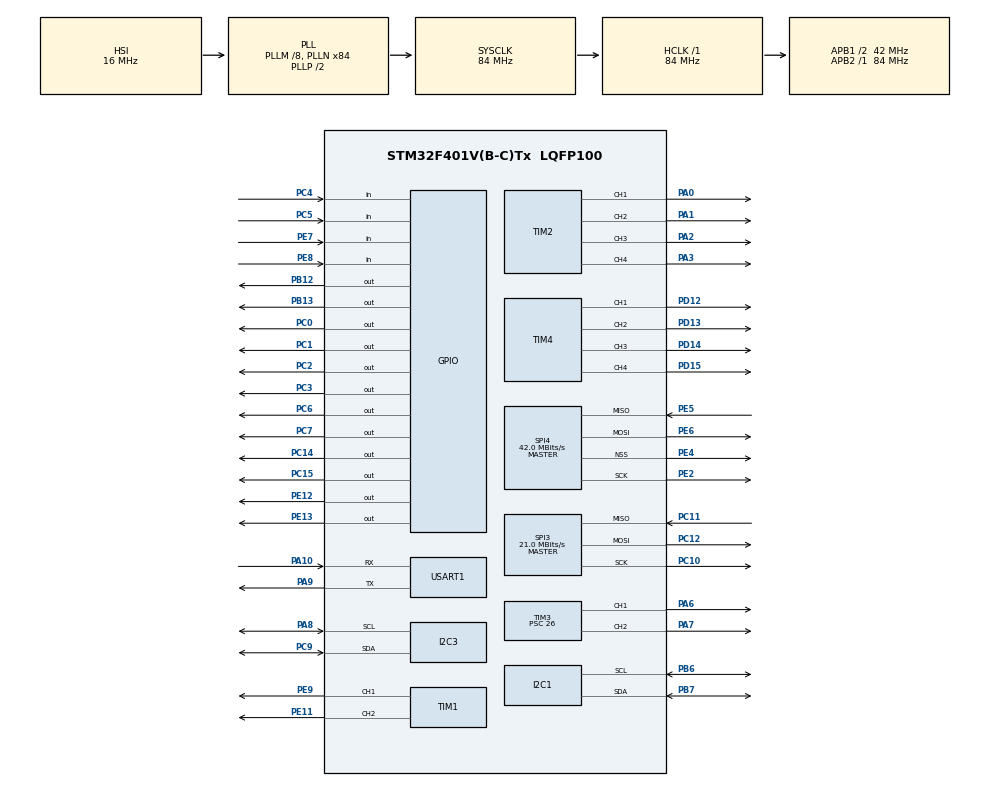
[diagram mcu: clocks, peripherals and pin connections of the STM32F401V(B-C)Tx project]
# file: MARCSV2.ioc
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Mcu.Family=STM32F4
Mcu.Name=STM32F401V(B-C)Tx
Mcu.Package=LQFP100
NVIC.PriorityGroup=NVIC_PRIORITYGROUP_4
PA0-WKUP.Signal=S_TIM2_CH1_ETR
PA1.Signal=S_TIM2_CH2
PA10.Mode=Asynchronous
PA10.Signal=USART1_RX
PA13.Mode=JTAG_4_pins
PA13.Signal=SYS_JTMS-SWDIO
PA14.Mode=JTAG_4_pins
PA14.Signal=SYS_JTCK-SWCLK
PA15.Mode=JTAG_4_pins
PA15.Signal=SYS_JTDI
PA2.Signal=S_TIM2_CH3
PA3.Signal=S_TIM2_CH4
PA6.Signal=S_TIM3_CH1
PA7.Signal=S_TIM3_CH2
PA8.Mode=I2C
PA8.Signal=I2C3_SCL
PA9.Mode=Asynchronous
PA9.Signal=USART1_TX
PB12.Signal=GPIO_Output
PB13.Signal=GPIO_Output
PB3.Mode=JTAG_4_pins
PB3.Signal=SYS_JTDO-SWO
PB6.Mode=I2C
PB6.Signal=I2C1_SCL
PB7.Mode=I2C
PB7.Signal=I2C1_SDA
PC0.Signal=GPIO_Output
PC1.Signal=GPIO_Output
PC10.Mode=Full_Duplex_Master
PC10.Signal=SPI3_SCK
PC11.Mode=Full_Duplex_Master
PC11.Signal=SPI3_MISO
PC12.Mode=Full_Duplex_Master
PC12.Signal=SPI3_MOSI
PC14-OSC32_IN.Signal=GPIO_Output
PC15-OSC32_OUT.Signal=GPIO_Output
PC2.Signal=GPIO_Output
PC3.Signal=GPIO_Output
PC4.Signal=GPIO_Input
PC5.Signal=GPIO_Input
PC6.Signal=GPIO_Output
PC7.Signal=GPIO_Output
PC9.Mode=I2C
PC9.Signal=I2C3_SDA
PD12.Signal=S_TIM4_CH1
PD13.Signal=S_TIM4_CH2
PD14.Signal=S_TIM4_CH3
PD15.Signal=S_TIM4_CH4
PE11.Signal=S_TIM1_CH2
PE12.Signal=GPIO_Output
PE13.Signal=GPIO_Output
PE2.Mode=Full_Duplex_Master
PE2.Signal=SPI4_SCK
PE4.Mode=NSS_Signal_Hard_Output
PE4.Signal=SPI4_NSS
PE5.Mode=Full_Duplex_Master
PE5.Signal=SPI4_MISO
PE6.Mode=Full_Duplex_Master
PE6.Signal=SPI4_MOSI
PE7.Signal=GPIO_Input
PE8.Signal=GPIO_Input
PE9.Signal=S_TIM1_CH1
PH0\ -\ OSC_IN.Mode=HSE-External-Oscillator
PH0\ -\ OSC_IN.Signal=RCC_OSC_IN
PH1\ -\ OSC_OUT.Mode=HSE-External-Oscillator
PH1\ -\ OSC_OUT.Signal=RCC_OSC_OUT
ProjectManager.HeapSize=0x200
ProjectManager.StackSize=0x400
ProjectManager.TargetToolchain=MDK-ARM V5
RCC.48MHZClocksFreq_Value=42000000
RCC.AHBFreq_Value=84000000
RCC.APB1CLKDivider=RCC_HCLK_DIV2
RCC.APB1Freq_Value=42000000
RCC.APB1TimFreq_Value=84000000
RCC.APB2Freq_Value=84000000
RCC.APB2TimFreq_Value=84000000
RCC.CortexFreq_Value=84000000
RCC.HCLKFreq_Value=84000000
RCC.HSE_VALUE=25000000
RCC.HSI_VALUE=16000000
RCC.LSE_VALUE=32768
RCC.PLLM=8
RCC.PLLN=84
RCC.SYSCLKFreq_VALUE=84000000
RCC.SYSCLKSource=RCC_SYSCLKSOURCE_PLLCLK
RCC.VCOOutputFreq_Value=168000000
SH.S_TIM1_CH1.0=TIM1_CH1,PWM Generation1 CH1
SH.S_TIM1_CH2.0=TIM1_CH2,PWM Generation2 CH2
SH.S_TIM2_CH1_ETR.0=TIM2_CH1,PWM Generation1 CH1
SH.S_TIM2_CH2.0=TIM2_CH2,PWM Generation2 CH2
SH.S_TIM2_CH3.0=TIM2_CH3,PWM Generation3 CH3
SH.S_TIM2_CH4.0=TIM2_CH4,PWM Generation4 CH4
SH.S_TIM3_CH1.0=TIM3_CH1,PWM Generation1 CH1
SH.S_TIM3_CH2.0=TIM3_CH2,PWM Generation2 CH2
SH.S_TIM4_CH1.0=TIM4_CH1,PWM Generation1 CH1
SH.S_TIM4_CH2.0=TIM4_CH2,PWM Generation2 CH2
SH.S_TIM4_CH3.0=TIM4_CH3,PWM Generation3 CH3
SH.S_TIM4_CH4.0=TIM4_CH4,PWM Generation4 CH4
SPI3.CalculateBaudRate=21.0 MBits/s
SPI3.Direction=SPI_DIRECTION_2LINES
SPI3.Mode=SPI_MODE_MASTER
SPI3.VirtualType=VM_MASTER
SPI4.CalculateBaudRate=42.0 MBits/s
SPI4.Direction=SPI_DIRECTION_2LINES
SPI4.Mode=SPI_MODE_MASTER
SPI4.VirtualNSS=VM_NSSHARD
SPI4.VirtualType=VM_MASTER
TIM1.Channel-PWM\ Generation1\ CH1=TIM_CHANNEL_1
TIM1.Channel-PWM\ Generation2\ CH2=TIM_CHANNEL_2
TIM2.Channel-PWM\ Generation1\ CH1=TIM_CHANNEL_1
TIM2.Channel-PWM\ Generation2\ CH2=TIM_CHANNEL_2
TIM2.Channel-PWM\ Generation3\ CH3=TIM_CHANNEL_3
TIM2.Channel-PWM\ Generation4\ CH4=TIM_CHANNEL_4
TIM3.Channel-PWM\ Generation1\ CH1=TIM_CHANNEL_1
TIM3.Channel-PWM\ Generation2\ CH2=TIM_CHANNEL_2
TIM3.Prescaler=26
TIM4.Channel-PWM\ Generation1\ CH1=TIM_CHANNEL_1
TIM4.Channel-PWM\ Generation2\ CH2=TIM_CHANNEL_2
TIM4.Channel-PWM\ Generation3\ CH3=TIM_CHANNEL_3
TIM4.Channel-PWM\ Generation4\ CH4=TIM_CHANNEL_4
USART1.VirtualMode=VM_ASYNC
board=custom

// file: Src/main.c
/* USER CODE BEGIN Header */
/**
  ******************************************************************************
  * @file           : main.c
  * @brief          : Main program body
  ******************************************************************************
  ** This notice applies to any and all portions of this file
  * that are not between comment pairs USER CODE BEGIN and
  * USER CODE END. Other portions of this file, whether
  * inserted by the user or by software development tools
  * are owned by their respective copyright owners.
  *
  * COPYRIGHT(c) 2019 STMicroelectronics
  *
  * Redistribution and use in source and binary forms, with or without modification,
  * are permitted provided that the following conditions are met:
  *   1. Redistributions of source code must retain the above copyright notice,
  *      this list of conditions and the following disclaimer.
  *   2. Redistributions in binary form must reproduce the above copyright notice,
  *      this list of conditions and the following disclaimer in the documentation
  *      and/or other materials provided with the distribution.
  *   3. Neither the name of STMicroelectronics nor the names of its contributors
  *      may be used to endorse or promote products derived from this software
  *      without specific prior written permission.
  *
  * THIS SOFTWARE IS PROVIDED BY THE COPYRIGHT HOLDERS AND CONTRIBUTORS "AS IS"
  * AND ANY EXPRESS OR IMPLIED WARRANTIES, INCLUDING, BUT NOT LIMITED TO, THE
  * IMPLIED WARRANTIES OF MERCHANTABILITY AND FITNESS FOR A PARTICULAR PURPOSE ARE
  * DISCLAIMED. IN NO EVENT SHALL THE COPYRIGHT HOLDER OR CONTRIBUTORS BE LIABLE
  * FOR ANY DIRECT, INDIRECT, INCIDENTAL, SPECIAL, EXEMPLARY, OR CONSEQUENTIAL
  * DAMAGES (INCLUDING, BUT NOT LIMITED TO, PROCUREMENT OF SUBSTITUTE GOODS OR
  * SERVICES; LOSS OF USE, DATA, OR PROFITS; OR BUSINESS INTERRUPTION) HOWEVER
  * CAUSED AND ON ANY THEORY OF LIABILITY, WHETHER IN CONTRACT, STRICT LIABILITY,
  * OR TORT (INCLUDING NEGLIGENCE OR OTHERWISE) ARISING IN ANY WAY OUT OF THE USE
  * OF THIS SOFTWARE, EVEN IF ADVISED OF THE POSSIBILITY OF SUCH DAMAGE.
  *
  ******************************************************************************
  */
/* USER CODE END Header */

#include "main.h"

I2C_HandleTypeDef hi2c1;
I2C_HandleTypeDef hi2c3;

SPI_HandleTypeDef hspi3;
SPI_HandleTypeDef hspi4;

TIM_HandleTypeDef htim1;
TIM_HandleTypeDef htim2;
TIM_HandleTypeDef htim3;
TIM_HandleTypeDef htim4;

UART_HandleTypeDef huart1;

uint16_t pwm_value = 0;

void SystemClock_Config(void);
static void MX_GPIO_Init(void);
static void MX_I2C1_Init(void);
static void MX_I2C3_Init(void);
static void MX_SPI3_Init(void);
static void MX_SPI4_Init(void);
static void MX_TIM1_Init(void);
static void MX_TIM2_Init(void);
static void MX_TIM3_Init(void);
static void MX_TIM4_Init(void);
static void MX_USART1_UART_Init(void);
void user_pwm_setvalue(uint16_t value);

int main(void)
{

  /* MCU Configuration--------------------------------------------------------*/

  /* Reset of all peripherals, Initializes the Flash interface and the Systick. */
  HAL_Init();

  /* Configure the system clock */
  SystemClock_Config();

  /* Initialize all configured peripherals */
  MX_GPIO_Init();
  MX_I2C1_Init();
  MX_I2C3_Init();
  MX_SPI3_Init();
  MX_SPI4_Init();
  MX_TIM1_Init();
  MX_TIM2_Init();
  MX_TIM3_Init();
  MX_TIM4_Init();
  MX_USART1_UART_Init();
  /* USER CODE BEGIN 2 */
	HAL_TIM_PWM_Start(&htim3, TIM_CHANNEL_1);
	HAL_TIM_PWM_Start(&htim3, TIM_CHANNEL_2);

	//Calibration
	/*
	user_pwm_setvalue(200);
	HAL_Delay(50);
	user_pwm_setvalue(100);
	HAL_Delay(50);

	user_pwm_setvalue(200);
	HAL_Delay(50);
	user_pwm_setvalue(100);
	HAL_Delay(50);

	user_pwm_setvalue(200);
	HAL_Delay(50);
	user_pwm_setvalue(100);
	HAL_Delay(50);

	user_pwm_setvalue(150);
	*/

	//HAL_TIM_PWM_Stop(&htim3, TIM_CHANNEL_1);
	//HAL_TIM_PWM_Stop(&htim3, TIM_CHANNEL_2);

	user_pwm_setvalue(200);
	HAL_Delay(2000);

	user_pwm_setvalue(110);
	HAL_Delay(2000);

	user_pwm_setvalue(150);

  /* USER CODE END 2 */

  /* Infinite loop */
  while (1)
  {

    /* USER CODE BEGIN 3 */
		/*HAL_Delay(100);
		pwm_value = 100;
		user_pwm_setvalue(pwm_value);*/

  }
  /* USER CODE END 3 */
}

void SystemClock_Config(void)
{
  RCC_OscInitTypeDef RCC_OscInitStruct = {0};
  RCC_ClkInitTypeDef RCC_ClkInitStruct = {0};

  /**Configure the main internal regulator output voltage
  */
  __HAL_RCC_PWR_CLK_ENABLE();
  __HAL_PWR_VOLTAGESCALING_CONFIG(PWR_REGULATOR_VOLTAGE_SCALE2);
  /**Initializes the CPU, AHB and APB busses clocks
  */
  RCC_OscInitStruct.OscillatorType = RCC_OSCILLATORTYPE_HSI;
  RCC_OscInitStruct.HSIState = RCC_HSI_ON;
  RCC_OscInitStruct.HSICalibrationValue = RCC_HSICALIBRATION_DEFAULT;
  RCC_OscInitStruct.PLL.PLLState = RCC_PLL_ON;
  RCC_OscInitStruct.PLL.PLLSource = RCC_PLLSOURCE_HSI;
  RCC_OscInitStruct.PLL.PLLM = 8;
  RCC_OscInitStruct.PLL.PLLN = 84;
  RCC_OscInitStruct.PLL.PLLP = RCC_PLLP_DIV2;
  RCC_OscInitStruct.PLL.PLLQ = 4;
  if (HAL_RCC_OscConfig(&RCC_OscInitStruct) != HAL_OK)
  {
    Error_Handler();
  }
  /**Initializes the CPU, AHB and APB busses clocks
  */
  RCC_ClkInitStruct.ClockType = RCC_CLOCKTYPE_HCLK|RCC_CLOCKTYPE_SYSCLK
                              |RCC_CLOCKTYPE_PCLK1|RCC_CLOCKTYPE_PCLK2;
  RCC_ClkInitStruct.SYSCLKSource = RCC_SYSCLKSOURCE_PLLCLK;
  RCC_ClkInitStruct.AHBCLKDivider = RCC_SYSCLK_DIV1;
  RCC_ClkInitStruct.APB1CLKDivider = RCC_HCLK_DIV2;
  RCC_ClkInitStruct.APB2CLKDivider = RCC_HCLK_DIV1;

  if (HAL_RCC_ClockConfig(&RCC_ClkInitStruct, FLASH_LATENCY_2) != HAL_OK)
  {
    Error_Handler();
  }
}

static void MX_I2C1_Init(void)
{

  hi2c1.Instance = I2C1;
  hi2c1.Init.ClockSpeed = 100000;
  hi2c1.Init.DutyCycle = I2C_DUTYCYCLE_2;
  hi2c1.Init.OwnAddress1 = 0;
  hi2c1.Init.AddressingMode = I2C_ADDRESSINGMODE_7BIT;
  hi2c1.Init.DualAddressMode = I2C_DUALADDRESS_DISABLE;
  hi2c1.Init.OwnAddress2 = 0;
  hi2c1.Init.GeneralCallMode = I2C_GENERALCALL_DISABLE;
  hi2c1.Init.NoStretchMode = I2C_NOSTRETCH_DISABLE;
  if (HAL_I2C_Init(&hi2c1) != HAL_OK)
  {
    Error_Handler();
  }

}

static void MX_I2C3_Init(void)
{

  hi2c3.Instance = I2C3;
  hi2c3.Init.ClockSpeed = 100000;
  hi2c3.Init.DutyCycle = I2C_DUTYCYCLE_2;
  hi2c3.Init.OwnAddress1 = 0;
  hi2c3.Init.AddressingMode = I2C_ADDRESSINGMODE_7BIT;
  hi2c3.Init.DualAddressMode = I2C_DUALADDRESS_DISABLE;
  hi2c3.Init.OwnAddress2 = 0;
  hi2c3.Init.GeneralCallMode = I2C_GENERALCALL_DISABLE;
  hi2c3.Init.NoStretchMode = I2C_NOSTRETCH_DISABLE;
  if (HAL_I2C_Init(&hi2c3) != HAL_OK)
  {
    Error_Handler();
  }

}

static void MX_SPI3_Init(void)
{

  /* SPI3 parameter configuration*/
  hspi3.Instance = SPI3;
  hspi3.Init.Mode = SPI_MODE_MASTER;
  hspi3.Init.Direction = SPI_DIRECTION_2LINES;
  hspi3.Init.DataSize = SPI_DATASIZE_8BIT;
  hspi3.Init.CLKPolarity = SPI_POLARITY_LOW;
  hspi3.Init.CLKPhase = SPI_PHASE_1EDGE;
  hspi3.Init.NSS = SPI_NSS_SOFT;
  hspi3.Init.BaudRatePrescaler = SPI_BAUDRATEPRESCALER_2;
  hspi3.Init.FirstBit = SPI_FIRSTBIT_MSB;
  hspi3.Init.TIMode = SPI_TIMODE_DISABLE;
  hspi3.Init.CRCCalculation = SPI_CRCCALCULATION_DISABLE;
  hspi3.Init.CRCPolynomial = 10;
  if (HAL_SPI_Init(&hspi3) != HAL_OK)
  {
    Error_Handler();
  }

}

static void MX_SPI4_Init(void)
{

  /* SPI4 parameter configuration*/
  hspi4.Instance = SPI4;
  hspi4.Init.Mode = SPI_MODE_MASTER;
  hspi4.Init.Direction = SPI_DIRECTION_2LINES;
  hspi4.Init.DataSize = SPI_DATASIZE_8BIT;
  hspi4.Init.CLKPolarity = SPI_POLARITY_LOW;
  hspi4.Init.CLKPhase = SPI_PHASE_1EDGE;
  hspi4.Init.NSS = SPI_NSS_HARD_OUTPUT;
  hspi4.Init.BaudRatePrescaler = SPI_BAUDRATEPRESCALER_2;
  hspi4.Init.FirstBit = SPI_FIRSTBIT_MSB;
  hspi4.Init.TIMode = SPI_TIMODE_DISABLE;
  hspi4.Init.CRCCalculation = SPI_CRCCALCULATION_DISABLE;
  hspi4.Init.CRCPolynomial = 10;
  if (HAL_SPI_Init(&hspi4) != HAL_OK)
  {
    Error_Handler();
  }

}

static void MX_TIM1_Init(void)
{

  TIM_MasterConfigTypeDef sMasterConfig = {0};
  TIM_OC_InitTypeDef sConfigOC = {0};
  TIM_BreakDeadTimeConfigTypeDef sBreakDeadTimeConfig = {0};

  htim1.Instance = TIM1;
  htim1.Init.Prescaler = 0;
  htim1.Init.CounterMode = TIM_COUNTERMODE_UP;
  htim1.Init.Period = 0;
  htim1.Init.ClockDivision = TIM_CLOCKDIVISION_DIV1;
  htim1.Init.RepetitionCounter = 0;
  if (HAL_TIM_PWM_Init(&htim1) != HAL_OK)
  {
    Error_Handler();
  }
  sMasterConfig.MasterOutputTrigger = TIM_TRGO_RESET;
  sMasterConfig.MasterSlaveMode = TIM_MASTERSLAVEMODE_DISABLE;
  if (HAL_TIMEx_MasterConfigSynchronization(&htim1, &sMasterConfig) != HAL_OK)
  {
    Error_Handler();
  }
  sConfigOC.OCMode = TIM_OCMODE_PWM1;
  sConfigOC.Pulse = 0;
  sConfigOC.OCPolarity = TIM_OCPOLARITY_HIGH;
  sConfigOC.OCNPolarity = TIM_OCNPOLARITY_HIGH;
  sConfigOC.OCFastMode = TIM_OCFAST_DISABLE;
  sConfigOC.OCIdleState = TIM_OCIDLESTATE_RESET;
  sConfigOC.OCNIdleState = TIM_OCNIDLESTATE_RESET;
  if (HAL_TIM_PWM_ConfigChannel(&htim1, &sConfigOC, TIM_CHANNEL_1) != HAL_OK)
  {
    Error_Handler();
  }
  if (HAL_TIM_PWM_ConfigChannel(&htim1, &sConfigOC, TIM_CHANNEL_2) != HAL_OK)
  {
    Error_Handler();
  }
  sBreakDeadTimeConfig.OffStateRunMode = TIM_OSSR_DISABLE;
  sBreakDeadTimeConfig.OffStateIDLEMode = TIM_OSSI_DISABLE;
  sBreakDeadTimeConfig.LockLevel = TIM_LOCKLEVEL_OFF;
  sBreakDeadTimeConfig.DeadTime = 0;
  sBreakDeadTimeConfig.BreakState = TIM_BREAK_DISABLE;
  sBreakDeadTimeConfig.BreakPolarity = TIM_BREAKPOLARITY_HIGH;
  sBreakDeadTimeConfig.AutomaticOutput = TIM_AUTOMATICOUTPUT_DISABLE;
  if (HAL_TIMEx_ConfigBreakDeadTime(&htim1, &sBreakDeadTimeConfig) != HAL_OK)
  {
    Error_Handler();
  }
  HAL_TIM_MspPostInit(&htim1);

}

static void MX_TIM2_Init(void)
{

  TIM_MasterConfigTypeDef sMasterConfig = {0};
  TIM_OC_InitTypeDef sConfigOC = {0};

  htim2.Instance = TIM2;
  htim2.Init.Prescaler = 0;
  htim2.Init.CounterMode = TIM_COUNTERMODE_UP;
  htim2.Init.Period = 0;
  htim2.Init.ClockDivision = TIM_CLOCKDIVISION_DIV1;
  if (HAL_TIM_PWM_Init(&htim2) != HAL_OK)
  {
    Error_Handler();
  }
  sMasterConfig.MasterOutputTrigger = TIM_TRGO_RESET;
  sMasterConfig.MasterSlaveMode = TIM_MASTERSLAVEMODE_DISABLE;
  if (HAL_TIMEx_MasterConfigSynchronization(&htim2, &sMasterConfig) != HAL_OK)
  {
    Error_Handler();
  }
  sConfigOC.OCMode = TIM_OCMODE_PWM1;
  sConfigOC.Pulse = 0;
  sConfigOC.OCPolarity = TIM_OCPOLARITY_HIGH;
  sConfigOC.OCFastMode = TIM_OCFAST_DISABLE;
  if (HAL_TIM_PWM_ConfigChannel(&htim2, &sConfigOC, TIM_CHANNEL_1) != HAL_OK)
  {
    Error_Handler();
  }
  if (HAL_TIM_PWM_ConfigChannel(&htim2, &sConfigOC, TIM_CHANNEL_2) != HAL_OK)
  {
    Error_Handler();
  }
  if (HAL_TIM_PWM_ConfigChannel(&htim2, &sConfigOC, TIM_CHANNEL_3) != HAL_OK)
  {
    Error_Handler();
  }
  if (HAL_TIM_PWM_ConfigChannel(&htim2, &sConfigOC, TIM_CHANNEL_4) != HAL_OK)
  {
    Error_Handler();
  }
  HAL_TIM_MspPostInit(&htim2);

}

static void MX_TIM3_Init(void)
{

  TIM_MasterConfigTypeDef sMasterConfig = {0};
  TIM_OC_InitTypeDef sConfigOC = {0};

  htim3.Instance = TIM3;
  htim3.Init.Prescaler = 840-1;
  htim3.Init.CounterMode = TIM_COUNTERMODE_UP;
  htim3.Init.Period = 2000-1;
  htim3.Init.ClockDivision = TIM_CLOCKDIVISION_DIV1;
  if (HAL_TIM_PWM_Init(&htim3) != HAL_OK)
  {
    Error_Handler();
  }
  sMasterConfig.MasterOutputTrigger = TIM_TRGO_RESET;
  sMasterConfig.MasterSlaveMode = TIM_MASTERSLAVEMODE_DISABLE;
  if (HAL_TIMEx_MasterConfigSynchronization(&htim3, &sMasterConfig) != HAL_OK)
  {
    Error_Handler();
  }
  sConfigOC.OCMode = TIM_OCMODE_PWM1;
  sConfigOC.Pulse = 0;
  sConfigOC.OCPolarity = TIM_OCPOLARITY_HIGH;
  sConfigOC.OCFastMode = TIM_OCFAST_DISABLE;
  if (HAL_TIM_PWM_ConfigChannel(&htim3, &sConfigOC, TIM_CHANNEL_1) != HAL_OK)
  {
    Error_Handler();
  }
  if (HAL_TIM_PWM_ConfigChannel(&htim3, &sConfigOC, TIM_CHANNEL_2) != HAL_OK)
  {
    Error_Handler();
  }
  HAL_TIM_MspPostInit(&htim3);

}

static void MX_TIM4_Init(void)
{

  TIM_MasterConfigTypeDef sMasterConfig = {0};
  TIM_OC_InitTypeDef sConfigOC = {0};

  htim4.Instance = TIM4;
  htim4.Init.Prescaler = 46;
  htim4.Init.CounterMode = TIM_COUNTERMODE_UP;
  htim4.Init.Period = 2000-1;
  htim4.Init.ClockDivision = TIM_CLOCKDIVISION_DIV1;
  if (HAL_TIM_PWM_Init(&htim4) != HAL_OK)
  {
    Error_Handler();
  }
  sMasterConfig.MasterOutputTrigger = TIM_TRGO_RESET;
  sMasterConfig.MasterSlaveMode = TIM_MASTERSLAVEMODE_DISABLE;
  if (HAL_TIMEx_MasterConfigSynchronization(&htim4, &sMasterConfig) != HAL_OK)
  {
    Error_Handler();
  }
  sConfigOC.OCMode = TIM_OCMODE_PWM1;
  sConfigOC.Pulse = 0;
  sConfigOC.OCPolarity = TIM_OCPOLARITY_HIGH;
  sConfigOC.OCFastMode = TIM_OCFAST_DISABLE;
  if (HAL_TIM_PWM_ConfigChannel(&htim4, &sConfigOC, TIM_CHANNEL_1) != HAL_OK)
  {
    Error_Handler();
  }
  if (HAL_TIM_PWM_ConfigChannel(&htim4, &sConfigOC, TIM_CHANNEL_2) != HAL_OK)
  {
    Error_Handler();
  }
  if (HAL_TIM_PWM_ConfigChannel(&htim4, &sConfigOC, TIM_CHANNEL_3) != HAL_OK)
  {
    Error_Handler();
  }
  if (HAL_TIM_PWM_ConfigChannel(&htim4, &sConfigOC, TIM_CHANNEL_4) != HAL_OK)
  {
    Error_Handler();
  }
  HAL_TIM_MspPostInit(&htim4);

}

static void MX_USART1_UART_Init(void)
{

  huart1.Instance = USART1;
  huart1.Init.BaudRate = 115200;
  huart1.Init.WordLength = UART_WORDLENGTH_8B;
  huart1.Init.StopBits = UART_STOPBITS_1;
  huart1.Init.Parity = UART_PARITY_NONE;
  huart1.Init.Mode = UART_MODE_TX_RX;
  huart1.Init.HwFlowCtl = UART_HWCONTROL_NONE;
  huart1.Init.OverSampling = UART_OVERSAMPLING_16;
  if (HAL_UART_Init(&huart1) != HAL_OK)
  {
    Error_Handler();
  }

}

static void MX_GPIO_Init(void)
{
  GPIO_InitTypeDef GPIO_InitStruct = {0};

  /* GPIO Ports Clock Enable */
  __HAL_RCC_GPIOE_CLK_ENABLE();
  __HAL_RCC_GPIOC_CLK_ENABLE();
  __HAL_RCC_GPIOH_CLK_ENABLE();
  __HAL_RCC_GPIOA_CLK_ENABLE();
  __HAL_RCC_GPIOB_CLK_ENABLE();
  __HAL_RCC_GPIOD_CLK_ENABLE();

  /*Configure GPIO pin Output Level */
  HAL_GPIO_WritePin(GPIOC, GPIO_PIN_14|GPIO_PIN_15|GPIO_PIN_0|GPIO_PIN_1
                          |GPIO_PIN_2|GPIO_PIN_3|GPIO_PIN_6|GPIO_PIN_7, GPIO_PIN_RESET);

  /*Configure GPIO pin Output Level */
  HAL_GPIO_WritePin(GPIOE, GPIO_PIN_12|GPIO_PIN_13, GPIO_PIN_RESET);

  /*Configure GPIO pin Output Level */
  HAL_GPIO_WritePin(GPIOB, GPIO_PIN_12|GPIO_PIN_13, GPIO_PIN_RESET);

  /*Configure GPIO pins : PC14 PC15 PC0 PC1
                           PC2 PC3 PC6 PC7 */
  GPIO_InitStruct.Pin = GPIO_PIN_14|GPIO_PIN_15|GPIO_PIN_0|GPIO_PIN_1
                          |GPIO_PIN_2|GPIO_PIN_3|GPIO_PIN_6|GPIO_PIN_7;
  GPIO_InitStruct.Mode = GPIO_MODE_OUTPUT_PP;
  GPIO_InitStruct.Pull = GPIO_NOPULL;
  GPIO_InitStruct.Speed = GPIO_SPEED_FREQ_LOW;
  HAL_GPIO_Init(GPIOC, &GPIO_InitStruct);

  /*Configure GPIO pins : PC4 PC5 */
  GPIO_InitStruct.Pin = GPIO_PIN_4|GPIO_PIN_5;
  GPIO_InitStruct.Mode = GPIO_MODE_INPUT;
  GPIO_InitStruct.Pull = GPIO_NOPULL;
  HAL_GPIO_Init(GPIOC, &GPIO_InitStruct);

  /*Configure GPIO pins : PE7 PE8 */
  GPIO_InitStruct.Pin = GPIO_PIN_7|GPIO_PIN_8;
  GPIO_InitStruct.Mode = GPIO_MODE_INPUT;
  GPIO_InitStruct.Pull = GPIO_NOPULL;
  HAL_GPIO_Init(GPIOE, &GPIO_InitStruct);

  /*Configure GPIO pins : PE12 PE13 */
  GPIO_InitStruct.Pin = GPIO_PIN_12|GPIO_PIN_13;
  GPIO_InitStruct.Mode = GPIO_MODE_OUTPUT_PP;
  GPIO_InitStruct.Pull = GPIO_NOPULL;
  GPIO_InitStruct.Speed = GPIO_SPEED_FREQ_LOW;
  HAL_GPIO_Init(GPIOE, &GPIO_InitStruct);

  /*Configure GPIO pins : PB12 PB13 */
  GPIO_InitStruct.Pin = GPIO_PIN_12|GPIO_PIN_13;
  GPIO_InitStruct.Mode = GPIO_MODE_OUTPUT_PP;
  GPIO_InitStruct.Pull = GPIO_NOPULL;
  GPIO_InitStruct.Speed = GPIO_SPEED_FREQ_LOW;
  HAL_GPIO_Init(GPIOB, &GPIO_InitStruct);

}

/* USER CODE BEGIN 4 */
void user_pwm_setvalue(uint16_t value)
{
    TIM_OC_InitTypeDef sConfigOC;

    sConfigOC.OCMode = TIM_OCMODE_PWM1;
    sConfigOC.Pulse = value;
    sConfigOC.OCPolarity = TIM_OCPOLARITY_HIGH;
    sConfigOC.OCFastMode = TIM_OCFAST_DISABLE;
    HAL_TIM_PWM_ConfigChannel(&htim3, &sConfigOC, TIM_CHANNEL_1);
		HAL_TIM_PWM_ConfigChannel(&htim3, &sConfigOC, TIM_CHANNEL_2);
    HAL_TIM_PWM_Start(&htim3, TIM_CHANNEL_1);
		HAL_TIM_PWM_Start(&htim3, TIM_CHANNEL_2);
}

/* USER CODE END 4 */

void Error_Handler(void)
{
}

/************************ (C) COPYRIGHT STMicroelectronics *****END OF FILE****/
